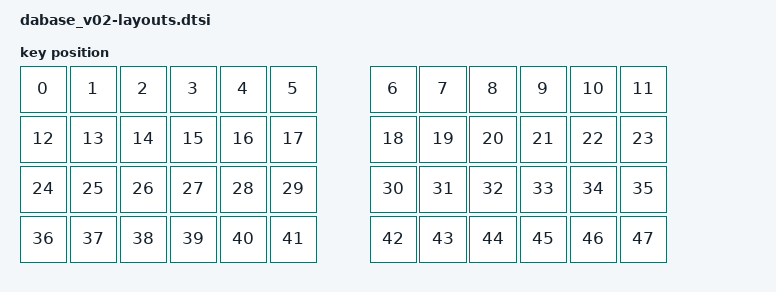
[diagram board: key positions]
#include <physical_layouts.dtsi>

/ {
    default_layout: physical_layout_0 {
        compatible = "zmk,physical-layout";
        display-name = "Default Layout";

        //                       w   h   x   y   rot rx  ry
        keys
            = <&key_physical_attrs 100 100 0 0 0 0 0>,  // ▽
              <&key_physical_attrs 100 100 100 0 0 0 0>,  // Q
              <&key_physical_attrs 100 100 200 0 0 0 0>,  // W
              <&key_physical_attrs 100 100 300 0 0 0 0>,  // F
              <&key_physical_attrs 100 100 400 0 0 0 0>,  // P
              <&key_physical_attrs 100 100 500 0 0 0 0>,  // B

              <&key_physical_attrs 100 100 700 0 0 0 0>,  // J
              <&key_physical_attrs 100 100 800 0 0 0 0>,  // L
              <&key_physical_attrs 100 100 900 0 0 0 0>,  // U
              <&key_physical_attrs 100 100 1000 0 0 0 0>,  // Y
              <&key_physical_attrs 100 100 1100 0 0 0 0>,  // ;
              <&key_physical_attrs 100 100 1200 0 0 0 0>,  // ▽

              <&key_physical_attrs 100 100 0   100 0 0 0>,  // ▽
              <&key_physical_attrs 100 100 100 100 0 0 0>,  // A
              <&key_physical_attrs 100 100 200 100 0 0 0>,  // S
              <&key_physical_attrs 100 100 300 100 0 0 0>,  // R
              <&key_physical_attrs 100 100 400 100 0 0 0>,  // T
              <&key_physical_attrs 100 100 500 100 0 0 0>,  // G

              <&key_physical_attrs 100 100 700  100 0 0 0>,  // M
              <&key_physical_attrs 100 100 800  100 0 0 0>,  // N
              <&key_physical_attrs 100 100 900  100 0 0 0>,  // E
              <&key_physical_attrs 100 100 1000 100 0 0 0>,  // I
              <&key_physical_attrs 100 100 1100 100 0 0 0>,  // O
              <&key_physical_attrs 100 100 1200 100 0 0 0>,  // ▽

              <&key_physical_attrs 100 100 0   200 0 0 0>,  // ▽
              <&key_physical_attrs 100 100 100 200 0 0 0>,  // Z
              <&key_physical_attrs 100 100 200 200 0 0 0>,  // X
              <&key_physical_attrs 100 100 300 200 0 0 0>,  // C
              <&key_physical_attrs 100 100 400 200 0 0 0>,  // D
              <&key_physical_attrs 100 100 500 200 0 0 0>,  // V

              <&key_physical_attrs 100 100 700  200 0 0 0>,  // K
              <&key_physical_attrs 100 100 800  200 0 0 0>,  // H
              <&key_physical_attrs 100 100 900  200 0 0 0>,  // ,
              <&key_physical_attrs 100 100 1000 200 0 0 0>,  // .
              <&key_physical_attrs 100 100 1100 200 0 0 0>,  // /
              <&key_physical_attrs 100 100 1200 200 0 0 0>,  // ▽

              <&key_physical_attrs 100 100 0   300 0 0 0>,  // ▽
              <&key_physical_attrs 100 100 100 300 0 0 0>,  // ▽
              <&key_physical_attrs 100 100 200 300 0 0 0>,  // mute
              <&key_physical_attrs 100 100 300 300 0 0 0>,  // LT3
              <&key_physical_attrs 100 100 400 300 0 0 0>,  // MO2
              <&key_physical_attrs 100 100 500 300 0 0 0>,  // Space

              <&key_physical_attrs 100 100 700  300 0 0 0>,  // LC(Bksp)
              <&key_physical_attrs 100 100 800  300 0 0 0>,  // MO1
              <&key_physical_attrs 100 100 900  300 0 0 0>,  // Enter
              <&key_physical_attrs 100 100 1000 300 0 0 0>,  // ▽
              <&key_physical_attrs 100 100 1100 300 0 0 0>,  // ▽
              <&key_physical_attrs 100 100 1200 300 0 0 0>   // ▽
        ;
    };
};
